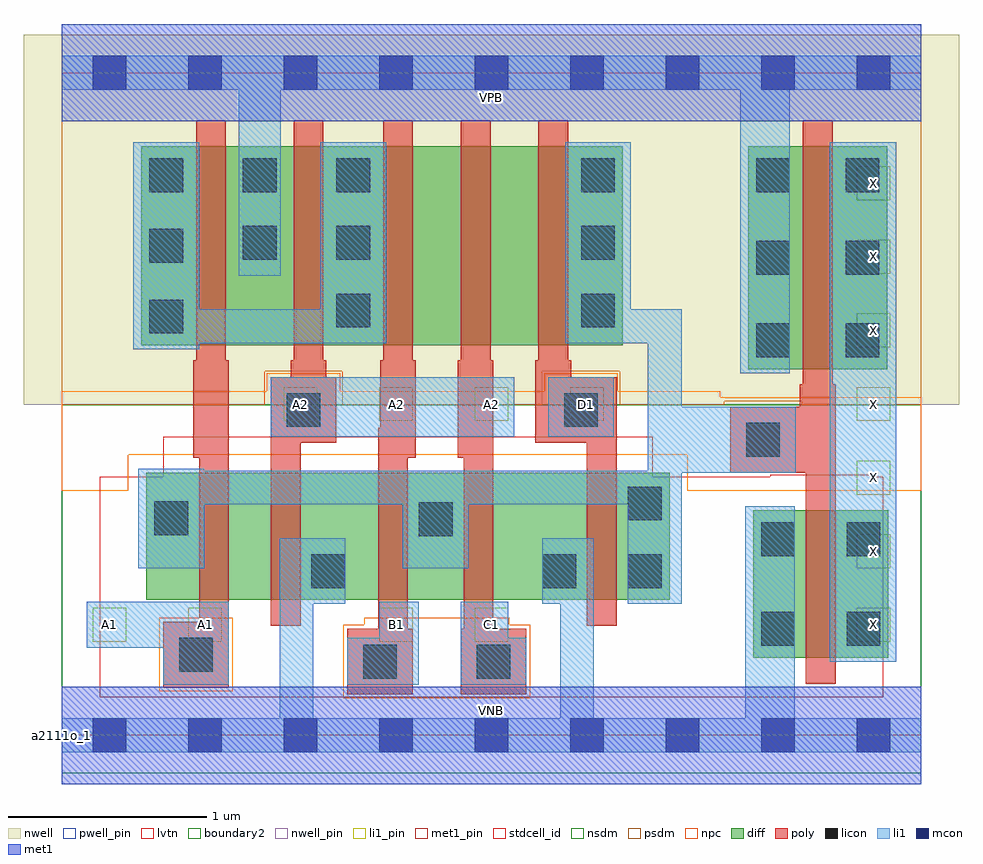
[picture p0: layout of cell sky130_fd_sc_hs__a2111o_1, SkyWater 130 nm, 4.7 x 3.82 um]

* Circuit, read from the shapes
.subckt sky130_fd_sc_hs__a2111o_1 A1 A2 B1 C1 D1 VGND VNB VPB VPWR X
XM1 n1 A1 n2 VNB sky130_fd_pr__nfet_01v8_lvt w=0.64 l=0.15
XM2 VGND A2 n1 VNB sky130_fd_pr__nfet_01v8_lvt w=0.64 l=0.15
XM3 n2 B1 VGND VNB sky130_fd_pr__nfet_01v8_lvt w=0.64 l=0.15
XM4 VGND C1 n2 VNB sky130_fd_pr__nfet_01v8_lvt w=0.64 l=0.15
XM5 n2 D1 VGND VNB sky130_fd_pr__nfet_01v8_lvt w=0.64 l=0.15
XM6 X n2 VGND VNB sky130_fd_pr__nfet_01v8_lvt w=0.74 l=0.15
XM7 VPWR A1 n3 VPB sky130_fd_pr__pfet_01v8 w=1 l=0.15
XM8 n3 A2 VPWR VPB sky130_fd_pr__pfet_01v8 w=1 l=0.15
XM9 n4 B1 n3 VPB sky130_fd_pr__pfet_01v8 w=1 l=0.15
XM10 n5 C1 n4 VPB sky130_fd_pr__pfet_01v8 w=1 l=0.15
XM11 n2 D1 n5 VPB sky130_fd_pr__pfet_01v8 w=1 l=0.15
XM12 X n2 VPWR VPB sky130_fd_pr__pfet_01v8 w=1.12 l=0.15
.ends

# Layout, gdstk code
import gdstk
lib = gdstk.Library(unit=1e-6, precision=1e-09)
def R(c, l, rs):  # rectangles x0, y0, x1, y1
    for r in rs: c.add(gdstk.rectangle(r[:2], r[2:], *l))
def A(c, l, x, y, w, h, nx, ny, dx, dy):  # array of equal rectangles
    R(c, l, [(x+i*dx, y+j*dy, x+i*dx+w, y+j*dy+h) for i in range(nx) for j in range(ny)])
def P(c, l, *ps):  # polygons
    for p in ps: c.add(gdstk.Polygon(p, *l))
nwell_pin = (64, 16)
nwell = (64, 20)
diff = (65, 20)
poly = (66, 20)
licon = (66, 44)
li1_pin = (67, 16)
li1 = (67, 20)
mcon = (67, 44)
met1_pin = (68, 16)
met1 = (68, 20)
stdcell_id = (81, 4)
nsdm = (93, 44)
psdm = (94, 20)
npc = (95, 20)
pwell_pin = (122, 16)
lvtn = (125, 44)
boundary2 = (236, 0)

sky130_fd_sc_hs__a2111o_ = lib.new_cell('sky130_fd_sc_hs__a2111o_1')
R(sky130_fd_sc_hs__a2111o_, nwell_pin, [(0,3.085,4.32,3.33)])
R(sky130_fd_sc_hs__a2111o_, nwell, [(-0.19,1.66,4.51,3.52)])
R(sky130_fd_sc_hs__a2111o_, diff, [(3.475,0.39,4.155,1.13), (0.425,0.68,3.055,1.32), (3.45,1.84,4.15,2.96), (0.4,1.96,2.82,2.96)])
P(sky130_fd_sc_hs__a2111o_, poly, [(3.89,1.765),(3.875,1.765),(3.875,3.09),(3.725,3.09),(3.725,1.765),(3.71,1.765),(3.71,1.65),(3.36,1.65),(3.36,1.32),(3.74,1.32),(3.74,0.26),(3.89,0.26)],
  [(2.79,1.8),(2.56,1.8),(2.56,1.885),(2.545,1.885),(2.545,3.09),(2.395,3.09),(2.395,1.885),(2.38,1.885),(2.38,1.47),(2.64,1.47),(2.64,0.55),(2.79,0.55)],
  [(2.335,0.535),(2.17,0.535),(2.17,1.885),(2.155,1.885),(2.155,3.09),(2.005,3.09),(2.005,1.885),(1.99,1.885),(1.99,1.395),(2.02,1.395),(2.02,0.535),(2.005,0.535),(2.005,0.205),(2.335,0.205)],
  [(1.78,1.885),(1.765,1.885),(1.765,3.09),(1.615,3.09),(1.615,1.885),(1.6,1.885),(1.6,1.545),(1.59,1.545),(1.59,0.535),(1.435,0.535),(1.435,0.205),(1.765,0.205),(1.765,0.535),(1.74,0.535),(1.74,1.395),(1.78,1.395)],
  [(1.38,1.8),(1.33,1.8),(1.33,1.885),(1.315,1.885),(1.315,3.09),(1.165,3.09),(1.165,1.885),(1.15,1.885),(1.15,1.8),(1.05,1.8),(1.05,0.55),(1.2,0.55),(1.2,1.47),(1.38,1.47)],
  [(0.84,1.885),(0.825,1.885),(0.825,3.09),(0.675,3.09),(0.675,1.885),(0.66,1.885),(0.66,1.395),(0.69,1.395),(0.69,0.57),(0.51,0.57),(0.51,0.24),(0.84,0.24)])
A(sky130_fd_sc_hs__a2111o_, licon, 3.49, 1.9, 0.17, 0.17, 1, 3, 0, 0.415)
A(sky130_fd_sc_hs__a2111o_, licon, 3.94, 1.9, 0.17, 0.17, 1, 3, 0, 0.415)
A(sky130_fd_sc_hs__a2111o_, licon, 2.61, 2.05, 0.17, 0.17, 1, 3, 0, 0.34)
A(sky130_fd_sc_hs__a2111o_, licon, 0.44, 2.73, 0.17, 0.17, 3, 1, 0.47, 0)
R(sky130_fd_sc_hs__a2111o_, licon, [(1.515,0.285,1.685,0.455), (2.085,0.285,2.255,0.455), (0.59,0.32,0.76,0.49), (3.515,0.45,3.685,0.62), (3.945,0.45,4.115,0.62), (1.255,0.74,1.425,0.91), (2.415,0.74,2.585,0.91), (2.845,0.74,3.015,0.91), (3.515,0.9,3.685,1.07), (3.945,0.9,4.115,1.07), (1.795,1,1.965,1.17), (0.465,1.005,0.635,1.175), (2.845,1.08,3.015,1.25), (3.44,1.4,3.61,1.57), (1.13,1.55,1.3,1.72), (2.525,1.55,2.695,1.72), (0.44,2.02,0.61,2.19), (1.38,2.05,1.55,2.22), (0.44,2.375,0.61,2.545), (0.91,2.39,1.08,2.56), (1.38,2.39,1.55,2.56)])
A(sky130_fd_sc_hs__a2111o_, li1_pin, 3.995, 0.47, 0.17, 0.17, 1, 7, 0, 0.37)
A(sky130_fd_sc_hs__a2111o_, li1_pin, 1.115, 1.58, 0.17, 0.17, 4, 1, 0.48, 0)
R(sky130_fd_sc_hs__a2111o_, li1_pin, [(0.155,0.47,0.325,0.64), (0.635,0.47,0.805,0.64), (1.595,0.47,1.765,0.64), (2.075,0.47,2.245,0.64)])
R(sky130_fd_sc_hs__a2111o_, li1, [(3.86,0.37,4.195,2.98), (1.05,1.5,2.275,1.8), (2.445,1.5,2.775,1.8)])
P(sky130_fd_sc_hs__a2111o_, li1, [(3.41,1.82),(3.41,3.245),(1.1,3.245),(1.1,2.31),(0.89,2.31),(0.89,3.245),(0,3.245),(0,3.415),(4.32,3.415),(4.32,3.245),(3.66,3.245),(3.66,1.82)],
  [(2.505,0.085),(2.505,0.66),(2.415,0.66),(2.415,0.99),(2.675,0.99),(2.675,0.085),(3.435,0.085),(3.435,1.15),(3.685,1.15),(3.685,0.085),(4.32,0.085),(4.32,-0.085),(0,-0.085),(0,0.085),(1.095,0.085),(1.095,0.99),(1.425,0.99),(1.425,0.66),(1.265,0.66),(1.265,0.085)],
  [(2.86,2.14),(3.115,2.14),(3.115,1.65),(3.69,1.65),(3.69,1.32),(3.115,1.32),(3.115,0.66),(2.845,0.66),(2.845,1.16),(2.045,1.16),(2.045,0.84),(1.715,0.84),(1.715,1.16),(0.715,1.16),(0.715,0.84),(0.385,0.84),(0.385,1.34),(0.715,1.34),(0.715,1.33),(2.945,1.33),(2.945,1.97),(2.53,1.97),(2.53,2.98),(2.86,2.98)],
  [(2.005,0.255),(2.005,0.67),(2.245,0.67),(2.245,0.49),(2.335,0.49),(2.335,0.255)],
  [(1.435,0.255),(1.435,0.49),(1.595,0.49),(1.595,0.67),(1.795,0.67),(1.795,0.255)],
  [(0.51,0.255),(0.51,0.44),(0.125,0.44),(0.125,0.67),(0.84,0.67),(0.84,0.255)],
  [(1.3,2.14),(1.3,2.98),(1.63,2.98),(1.63,1.97),(0.69,1.97),(0.69,1.94),(0.36,1.94),(0.36,2.98),(0.69,2.98),(0.69,2.14)])
A(sky130_fd_sc_hs__a2111o_, mcon, 0.155, -0.085, 0.17, 0.17, 9, 2, 0.48, 3.33)
R(sky130_fd_sc_hs__a2111o_, met1_pin, [(0,0,4.32,0.245), (0,3.085,4.32,3.33)])
R(sky130_fd_sc_hs__a2111o_, met1, [(0,-0.245,4.32,0.245), (0,3.085,4.32,3.575)])
R(sky130_fd_sc_hs__a2111o_, stdcell_id, [(0,0,4.32,3.33)])
R(sky130_fd_sc_hs__a2111o_, nsdm, [(0,-0.19,4.32,1.66)])
P(sky130_fd_sc_hs__a2111o_, psdm, [(4.32,3.52),(0,3.52),(0,1.66),(1.02,1.66),(1.02,1.83),(1.41,1.83),(1.41,1.66),(2.415,1.66),(2.415,1.83),(2.805,1.83),(2.805,1.66),(3.33,1.66),(3.33,1.68),(3.72,1.68),(3.72,1.66),(4.32,1.66)])
R(sky130_fd_sc_hs__a2111o_, npc, [(0.49,0.22,0.86,0.59)])
P(sky130_fd_sc_hs__a2111o_, npc, [(2.355,0.555),(2.25,0.555),(2.25,0.59),(1.52,0.59),(1.52,0.555),(1.415,0.555),(1.415,0.185),(2.355,0.185)],
  [(4.32,1.7),(3.31,1.7),(3.31,1.73),(2.795,1.73),(2.795,1.82),(2.425,1.82),(2.425,1.73),(1.4,1.73),(1.4,1.82),(1.03,1.82),(1.03,1.73),(0,1.73),(0,1.23),(0.335,1.23),(0.335,1.41),(3.145,1.41),(3.145,1.23),(4.32,1.23)])
R(sky130_fd_sc_hs__a2111o_, pwell_pin, [(0,0,4.32,0.245)])
P(sky130_fd_sc_hs__a2111o_, lvtn, [(4.13,1.3),(4.07,1.3),(4.07,1.31),(3.56,1.31),(3.56,1.3),(2.97,1.3),(2.97,1.5),(0.51,1.5),(0.51,1.3),(0.19,1.3),(0.19,0.19),(4.13,0.19)])
R(sky130_fd_sc_hs__a2111o_, boundary2, [(0,0,4.32,3.33)])
sky130_fd_sc_hs__a2111o_.add(gdstk.Label('a2111o_1', (0,0), layer=83, texttype=44))
sky130_fd_sc_hs__a2111o_.add(gdstk.Label('VNB', (2.16,0.123), layer=64, texttype=59))
sky130_fd_sc_hs__a2111o_.add(gdstk.Label('VPB', (2.16,3.208), layer=64, texttype=5))
sky130_fd_sc_hs__a2111o_.add(gdstk.Label('VPWR', (2.16,3.208), layer=68, texttype=5))
sky130_fd_sc_hs__a2111o_.add(gdstk.Label('VGND', (2.16,0.123), layer=68, texttype=5))
sky130_fd_sc_hs__a2111o_.add(gdstk.Label('X', (4.08,0.555), layer=67, texttype=5))
sky130_fd_sc_hs__a2111o_.add(gdstk.Label('X', (4.08,0.925), layer=67, texttype=5))
sky130_fd_sc_hs__a2111o_.add(gdstk.Label('X', (4.08,1.295), layer=67, texttype=5))
sky130_fd_sc_hs__a2111o_.add(gdstk.Label('X', (4.08,1.665), layer=67, texttype=5))
sky130_fd_sc_hs__a2111o_.add(gdstk.Label('X', (4.08,2.035), layer=67, texttype=5))
sky130_fd_sc_hs__a2111o_.add(gdstk.Label('X', (4.08,2.405), layer=67, texttype=5))
sky130_fd_sc_hs__a2111o_.add(gdstk.Label('X', (4.08,2.775), layer=67, texttype=5))
sky130_fd_sc_hs__a2111o_.add(gdstk.Label('C1', (2.16,0.555), layer=67, texttype=5))
sky130_fd_sc_hs__a2111o_.add(gdstk.Label('B1', (1.68,0.555), layer=67, texttype=5))
sky130_fd_sc_hs__a2111o_.add(gdstk.Label('A2', (1.2,1.665), layer=67, texttype=5))
sky130_fd_sc_hs__a2111o_.add(gdstk.Label('A2', (1.68,1.665), layer=67, texttype=5))
sky130_fd_sc_hs__a2111o_.add(gdstk.Label('A2', (2.16,1.665), layer=67, texttype=5))
sky130_fd_sc_hs__a2111o_.add(gdstk.Label('A1', (0.24,0.555), layer=67, texttype=5))
sky130_fd_sc_hs__a2111o_.add(gdstk.Label('A1', (0.72,0.555), layer=67, texttype=5))
sky130_fd_sc_hs__a2111o_.add(gdstk.Label('D1', (2.64,1.665), layer=67, texttype=5))

lib.write_gds('sky130_fd_sc_hs__a2111o_1.gds')
